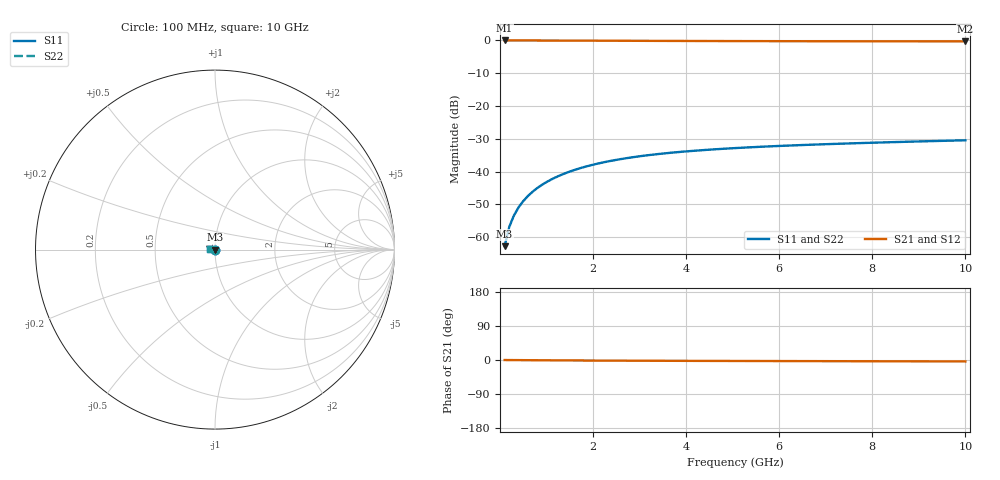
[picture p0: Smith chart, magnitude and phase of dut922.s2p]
! Touchstone file exported from HFSS 2024.1.0
!  File:  C:/UserFiles/LocalFiles/RDL_TSV_Batchsim/temp_TSV1_922_1779946239.aedt
!  Generated:  01:36:41 PM May 28, 2026
!  Design:  TSV1
!  Project:  temp_TSV1_922_1779946239
!  Setup:  Setup1
!  Solution:  Sweep
! Variables:
!  dtsv = 7.78um
!  hbump = 3um
!  htsv = 56.77um
!  lrdl = 252.1521522um
!  p = 40
!  p1 = 44.26um
!  t = 500um
!  trdl = 3um
!  wrdl = 24.89489489um
# GHz S MA R 50.000000
! Terminal data exported
! Port[1] = TSV22_T1
! Port[2] = TSV22_T2
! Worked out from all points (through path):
!   100 points, 100 MHz to 10 GHz, reference 50 ohm
!   highest |S21| = 0.00 dB at 100 MHz (marker M1); lowest = -0.3 dB at 10 GHz (marker M2)
!   lowest |S11| = -62.7 dB at 100 MHz (marker M3), VSWR 1.00, Z = 50 - j0.0708 ohm
!   |S11| at or under -10 dB: start of sweep to end of sweep
!   |S22| runs from -62.7 to -30.4 dB; largest |S21 - S12| = 6.1e-15
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0.1  0.0007293 -76.1  0.9998 -0.1  0.9998 -0.1  0.0007293 -76.1
! Gamma 0 0 0 0
! Port Impedance 50 0 50 0
0.2  0.001434 -85.6  0.9997 -0.2  0.9997 -0.2  0.001434 -85.6
0.3  0.002142 -90.1  0.9996 -0.2  0.9996 -0.2  0.002142 -90.1
0.4  0.002847 -93.2  0.9994 -0.3  0.9994 -0.3  0.002847 -93.2
0.5  0.003547 -95.8  0.9992 -0.4  0.9992 -0.4  0.003547 -95.8
0.6  0.00424 -98.1  0.999 -0.5  0.999 -0.5  0.00424 -98.1
0.7  0.004925 -100.3  0.9987 -0.6  0.9987 -0.6  0.004925 -100.3
0.8  0.005602 -102.3  0.9983 -0.6  0.9983 -0.6  0.005602 -102.3
0.9  0.006268 -104.3  0.998 -0.7  0.998 -0.7  0.006268 -104.3
1.1  0.007567 -108.1  0.9972 -0.9  0.9972 -0.9  0.007567 -108.1
1.4  0.00942 -113.4  0.9958 -1.1  0.9958 -1.1  0.00942 -113.4
1.6  0.01059 -116.7  0.9947 -1.2  0.9947 -1.2  0.01059 -116.7
1.8  0.01169 -120.0  0.9936 -1.3  0.9936 -1.3  0.01169 -120.0
2.1  0.01324 -124.6  0.9919 -1.5  0.9919 -1.5  0.01324 -124.6
2.5  0.0151 -130.3  0.9896 -1.7  0.9896 -1.7  0.0151 -130.3
2.9  0.01674 -135.6  0.9874 -1.9  0.9874 -1.9  0.01674 -135.6
3.4  0.01852 -141.7  0.9847 -2.1  0.9847 -2.1  0.01852 -141.7
4.2  0.02086 -150.2  0.9811 -2.3  0.9811 -2.3  0.02086 -150.2
5.1  0.02293 -158.4  0.9777 -2.6  0.9777 -2.6  0.02293 -158.4
6.7  0.02574 -170.5  0.9733 -3.0  0.9733 -3.0  0.02574 -170.5
8.4  0.02808 179.3  0.9702 -3.4  0.9702 -3.4  0.02808 179.3
10  0.03003 171.2  0.9682 -3.8  0.9682 -3.8  0.03003 171.2
